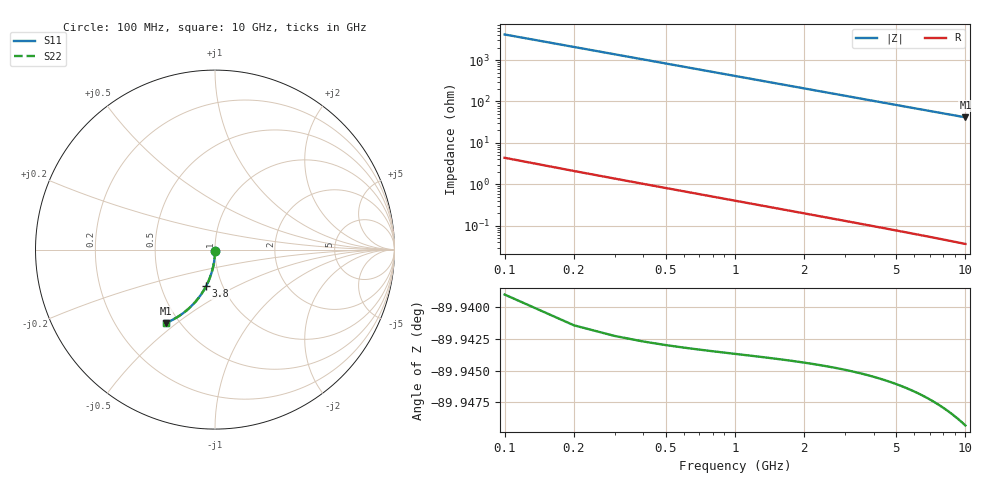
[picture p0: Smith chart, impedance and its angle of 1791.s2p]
# Hz S RI R 50.00
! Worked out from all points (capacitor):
!   100 points, 100 MHz to 10 GHz, reference 50 ohm
!   read as one part in shunt: C = 385 fF near 100 MHz
!   lowest |Z| = 41.6 ohm at 10 GHz (marker M1)
!   S11 on the Smith chart (normalised r, x): 100 MHz: 1.00, -0.01; 3.8 GHz: 0.83, -0.36; 10 GHz: 0.42, -0.46
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1e8  0.000131 -0.00568  0.9998 -0.00642  0.9998 -0.00642  0.000131 -0.00568
2e8  1.68e-05 -0.0114  0.9997 -0.0128  0.9997 -0.0128  1.68e-05 -0.0114
3e8  -0.000171 -0.017  0.9995 -0.0193  0.9995 -0.0193  -0.000171 -0.017
4e8  -0.000431 -0.0227  0.9992 -0.0257  0.9992 -0.0257  -0.000431 -0.0227
5e8  -0.000764 -0.0284  0.9989 -0.0321  0.9989 -0.0321  -0.000764 -0.0284
6e8  -0.00117 -0.0341  0.9985 -0.0385  0.9985 -0.0385  -0.00117 -0.0341
7e8  -0.00165 -0.0397  0.998 -0.0449  0.998 -0.0449  -0.00165 -0.0397
8e8  -0.0022 -0.0454  0.9974 -0.0513  0.9974 -0.0513  -0.0022 -0.0454
9e8  -0.00282 -0.051  0.9968 -0.0576  0.9968 -0.0576  -0.00282 -0.051
1.1e9  -0.00429 -0.0622  0.9953 -0.0704  0.9953 -0.0704  -0.00429 -0.0622
1.4e9  -0.00701 -0.079  0.9926 -0.0893  0.9926 -0.0893  -0.00701 -0.079
1.8e9  -0.0116 -0.1011  0.9879 -0.1144  0.9879 -0.1144  -0.0116 -0.1011
2.1e9  -0.0158 -0.1174  0.9837 -0.133  0.9837 -0.133  -0.0158 -0.1174
2.5e9  -0.0223 -0.1389  0.9771 -0.1574  0.9771 -0.1574  -0.0223 -0.1389
2.9e9  -0.0299 -0.1599  0.9695 -0.1813  0.9695 -0.1813  -0.0299 -0.1599
3.4e9  -0.0407 -0.1853  0.9586 -0.2105  0.9586 -0.2105  -0.0407 -0.1853
3.8e9  -0.0504 -0.205  0.9488 -0.2331  0.9488 -0.2331  -0.0504 -0.205
4.4e9  -0.0665 -0.2332  0.9325 -0.2658  0.9325 -0.2658  -0.0665 -0.2332
5.1e9  -0.0876 -0.2641  0.9113 -0.3019  0.9113 -0.3019  -0.0876 -0.2641
6.7e9  -0.1428 -0.3253  0.8556 -0.3751  0.8556 -0.3751  -0.1428 -0.3253
8.4e9  -0.2086 -0.3753  0.789 -0.438  0.789 -0.438  -0.2086 -0.3753
1e10  -0.2733 -0.4084  0.7235 -0.4835  0.7235 -0.4835  -0.2733 -0.4084
